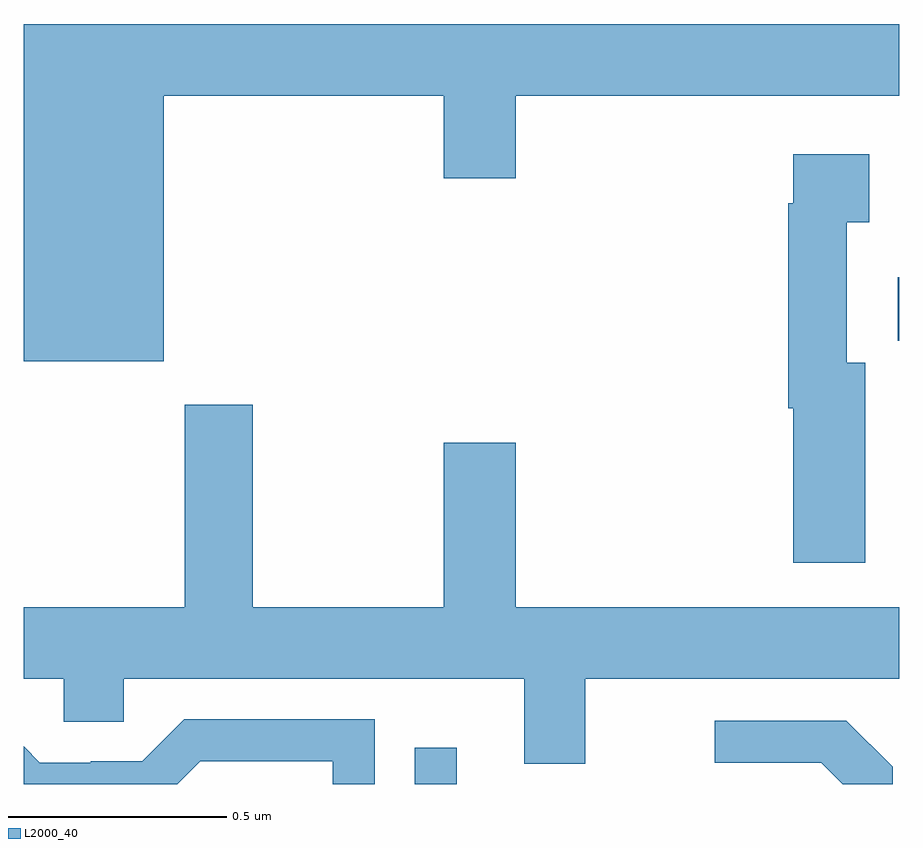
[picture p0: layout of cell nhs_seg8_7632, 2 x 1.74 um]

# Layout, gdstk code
import gdstk
lib = gdstk.Library(unit=1e-6, precision=1e-09)
def R(c, l, rs):  # rectangles x0, y0, x1, y1
    for r in rs: c.add(gdstk.rectangle(r[:2], r[2:], *l))
def P(c, l, *ps):  # polygons
    for p in ps: c.add(gdstk.Polygon(p, *l))
L2000_40 = (2000, 40)

nhs_seg8_7632 = lib.new_cell('nhs_seg8_7632')
R(nhs_seg8_7632, L2000_40, [(212.893,1142.9,212.989,1142.983), (213.996,1143.912,214,1144.057)])
P(nhs_seg8_7632, L2000_40, [(212.32,1144.472),(212.96,1144.472),(212.96,1144.284),(213.124,1144.284),(213.124,1144.472),(214,1144.472),(214,1144.636),(212,1144.636),(212,1143.866),(212.32,1143.866)],
  [(213.922,1143.862),(213.88,1143.862),(213.88,1144.183),(213.931,1144.183),(213.931,1144.339),(213.758,1144.339),(213.758,1144.226),(213.746,1144.226),(213.746,1143.758),(213.758,1143.758),(213.758,1143.405),(213.922,1143.405)],
  [(213.283,1143.14),(214,1143.14),(214,1143.304),(213.124,1143.304),(213.124,1143.679),(212.96,1143.679),(212.96,1143.304),(212.523,1143.304),(212.523,1143.766),(212.368,1143.766),(212.368,1143.304),(212,1143.304),(212,1143.14),(212.091,1143.14),(212.091,1143.042),(212.229,1143.042),(212.229,1143.14),(213.143,1143.14),(213.143,1142.946),(213.283,1142.946)],
  [(212.403,1142.952),(212.706,1142.952),(212.706,1142.9),(212.802,1142.9),(212.802,1143.048),(212.367,1143.048),(212.271,1142.952),(212.153,1142.952),(212.153,1142.949),(212.037,1142.949),(212,1142.986),(212,1142.9),(212.351,1142.9)],
  [(213.985,1142.939),(213.879,1143.045),(213.579,1143.045),(213.579,1142.949),(213.822,1142.949),(213.871,1142.9),(213.985,1142.9)])

lib.write_gds('nhs_seg8_7632.gds')
